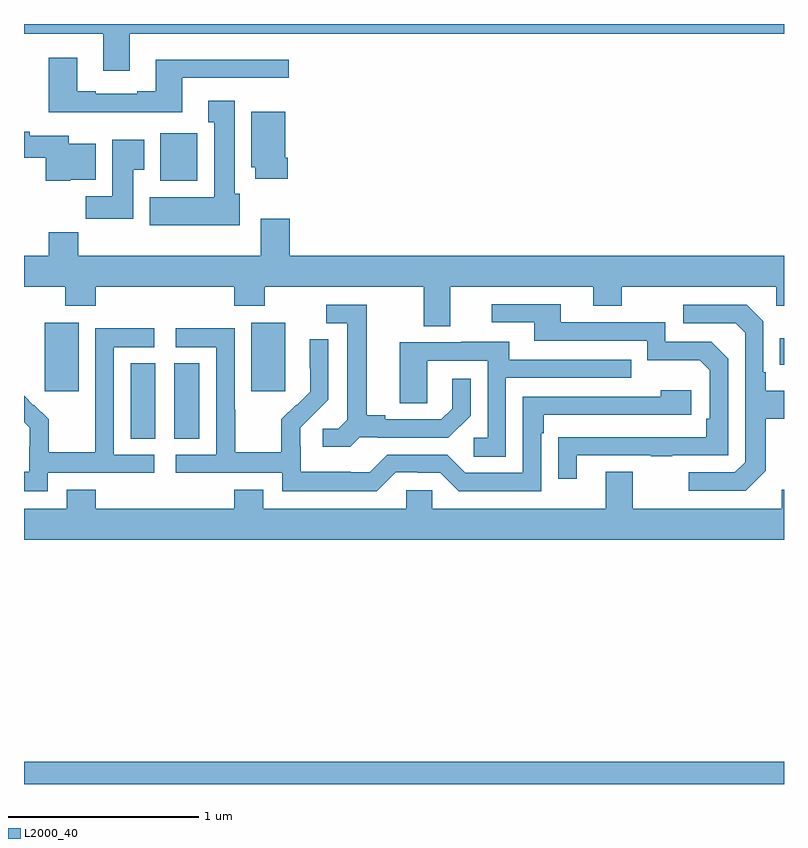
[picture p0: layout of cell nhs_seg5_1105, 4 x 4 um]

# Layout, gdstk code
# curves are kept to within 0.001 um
import gdstk
lib = gdstk.Library(unit=1e-6, precision=1e-09)
def R(c, l, rs):  # rectangles x0, y0, x1, y1
    for r in rs: c.add(gdstk.rectangle(r[:2], r[2:], *l))
def P(c, l, *ps):  # polygons
    for p in ps: c.add(gdstk.Polygon(p, *l))
L2000_40 = (2000, 40)

nhs_seg5_1105 = lib.new_cell('nhs_seg5_1105')
R(nhs_seg5_1105, L2000_40, [(179,864.799,183,864.916), (179.561,866.617,179.692,867.014), (179.792,866.617,179.923,867.014), (179.108,866.865,179.287,867.226), (180.197,866.865,180.376,867.226), (182.977,867.005,183,867.145), (179.717,867.974,179.913,868.225)])
P(nhs_seg5_1105, L2000_40, [(179.557,868.748),(183,868.748),(183,868.799),(179,868.799),(179,868.748),(179.417,868.748),(179.417,868.554),(179.557,868.554)],
  [(179.833,868.515),(180.394,868.515),(180.394,868.612),(179.693,868.612),(179.693,868.444),(179.597,868.444),(179.597,868.431),(179.377,868.431),(179.377,868.444),(179.281,868.444),(179.281,868.621),(179.129,868.621),(179.129,868.334),(179.833,868.334)],
  [(180.136,867.906),(180.109,867.906),(180.109,868.396),(179.969,868.396),(179.969,868.283),(180.002,868.283),(180.002,867.886),(179.663,867.886),(179.663,867.74),(180.136,867.74)],
  [(180.389,868.096),(180.376,868.096),(180.376,868.336),(180.197,868.336),(180.197,868.044),(180.218,868.044),(180.218,867.984),(180.389,867.984)],
  [(179.244,867.98),(179.377,867.98),(179.377,868.168),(179.236,868.168),(179.236,868.212),(179.03,868.212),(179.03,868.232),(179,868.232),(179,868.096),(179.114,868.096),(179.114,867.974),(179.244,867.974)],
  [(179.575,868.033),(179.632,868.033),(179.632,868.189),(179.465,868.189),(179.465,867.892),(179.326,867.892),(179.326,867.774),(179.575,867.774)],
  [(181.243,867.416),(181.997,867.416),(181.997,867.317),(182.145,867.317),(182.145,867.416),(182.958,867.416),(182.958,867.317),(183,867.317),(183,867.58),(180.398,867.58),(180.398,867.775),(180.245,867.775),(180.245,867.58),(179.285,867.58),(179.285,867.704),(179.129,867.704),(179.129,867.58),(179,867.58),(179,867.416),(179.218,867.416),(179.218,867.317),(179.378,867.317),(179.378,867.416),(180.107,867.416),(180.107,867.317),(180.267,867.317),(180.267,867.416),(181.103,867.416),(181.103,867.208),(181.243,867.208)],
  [(181.909,866.529),(182.299,866.529),(182.299,866.524),(182.411,866.524),(182.411,866.529),(182.706,866.529),(182.706,867.036),(182.616,867.126),(182.376,867.126),(182.376,867.228),(181.825,867.228),(181.825,867.324),(181.461,867.324),(181.461,867.228),(181.685,867.228),(181.685,867.132),(182.28,867.132),(182.28,867.029),(182.557,867.029),(182.61,866.976),(182.61,866.722),(182.59,866.722),(182.59,866.625),(181.813,866.624),(181.813,866.406),(181.909,866.406)],
  [(182.905,866.449),(182.905,866.722),(183,866.722),(183,866.869),(182.905,866.869),(182.905,866.965),(182.892,866.965),(182.892,867.234),(182.805,867.321),(182.469,867.321),(182.469,867.225),(182.745,867.225),(182.796,867.174),(182.796,866.493),(182.742,866.439),(182.499,866.439),(182.499,866.343),(182.799,866.343)],
  [(180.768,866.625),(180.862,866.625),(180.862,866.622),(181.234,866.622),(181.35,866.738),(181.35,866.932),(181.253,866.932),(181.253,866.775),(181.196,866.718),(180.901,866.718),(180.901,866.741),(180.805,866.741),(180.805,867.321),(180.591,867.321),(180.591,867.225),(180.701,867.225),(180.701,866.717),(180.654,866.67),(180.573,866.67),(180.573,866.573),(180.716,866.573)],
  [(180.957,866.439),(181.073,866.439),(181.073,866.436),(181.191,866.436),(181.287,866.34),(181.722,866.34),(181.722,866.645),(181.735,866.645),(181.735,866.742),(182.512,866.742),(182.512,866.872),(182.351,866.872),(182.351,866.838),(181.626,866.838),(181.626,866.436),(181.323,866.436),(181.227,866.532),(180.912,866.532),(180.819,866.439),(180.719,866.439),(180.719,866.443),(180.456,866.443),(180.456,866.577),(180.454,866.577),(180.454,866.674),(180.6,866.822),(180.6,867.14),(180.504,867.14),(180.504,866.986),(180.506,866.986),(180.506,866.864),(180.435,866.793),(180.432,866.796),(180.355,866.719),(180.355,866.545),(180.111,866.545),(180.111,866.768),(180.108,866.768),(180.108,867.198),(179.799,867.198),(179.799,867.099),(180.012,867.099),(180.012,866.532),(179.799,866.532),(179.799,866.436),(180.36,866.436),(180.36,866.339),(180.857,866.339)],
  [(179.124,866.436),(179.686,866.436),(179.686,866.532),(179.472,866.532),(179.472,867.099),(179.686,867.099),(179.686,867.198),(179.376,867.198),(179.376,866.768),(179.374,866.768),(179.374,866.545),(179.129,866.545),(179.129,866.719),(179.052,866.796),(179.049,866.793),(179,866.843),(179,866.704),(179.03,866.674),(179.03,866.577),(179.028,866.577),(179.028,866.443),(179,866.443),(179,866.339),(179.124,866.339)],
  [(181.536,866.937),(182.195,866.937),(182.195,867.033),(181.555,867.033),(181.555,867.127),(181.301,867.127),(181.301,867.123),(180.977,867.123),(180.977,866.803),(181.122,866.803),(181.122,867.027),(181.44,867.027),(181.44,866.622),(181.368,866.622),(181.368,866.521),(181.536,866.521)],
  [(183,866.347),(182.987,866.347),(182.987,866.248),(182.203,866.248),(182.203,866.443),(182.063,866.443),(182.063,866.248),(181.149,866.248),(181.149,866.346),(181.011,866.346),(181.011,866.248),(180.259,866.248),(180.259,866.347),(180.107,866.347),(180.107,866.248),(179.378,866.248),(179.378,866.347),(179.225,866.347),(179.225,866.248),(179,866.248),(179,866.084),(183,866.084)])

lib.write_gds('nhs_seg5_1105.gds')
